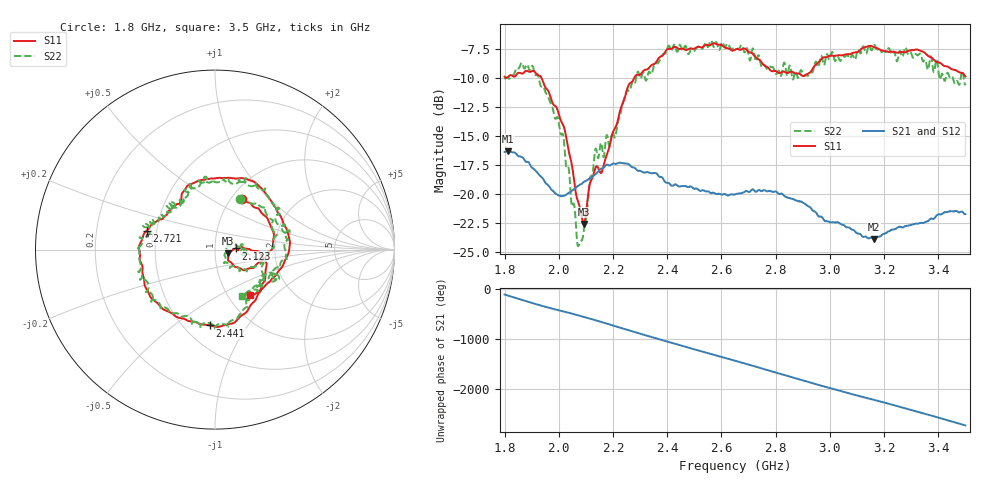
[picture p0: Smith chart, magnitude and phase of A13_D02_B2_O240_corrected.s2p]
! Created with skrf 1.9.0 (http://scikit-rf.org).
# Hz S RI R 50.0
!freq ReS11 ImS11 ReS21 ImS21 ReS12 ImS12 ReS22 ImS22
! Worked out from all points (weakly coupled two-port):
!   1601 points, 1.8 GHz to 3.5 GHz, reference 50 ohm
!   highest |S21| = -16.31 dB at 1.814 GHz (marker M1); lowest = -23.9 dB at 3.163 GHz (marker M2)
!   lowest |S11| = -22.6 dB at 2.092 GHz (marker M3), VSWR 1.16, Z = 57.7 - j2.28 ohm
!   |S11| at or under -10 dB: 1.936 GHz to 2.278 GHz (341.7 MHz wide, 16.2 % of centre)
!   |S22| runs from -24.5 to -6.8 dB; largest |S21 - S12| = 0.0026
!   S11 on the Smith chart (normalised r, x): 1.8 GHz: 1.12, +0.71; 2.123 GHz: 1.26, +0.02; 2.441 GHz: 0.67, -0.69; 2.721 GHz: 0.44, +0.11; 3.5 GHz: 1.26, -0.72
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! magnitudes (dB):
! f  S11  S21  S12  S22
! 1.8 GHz  -9.9  -16.4  -16.4  -10.1
! 1.814 GHz  -9.9  -16.3  -16.3  -10.0
! 1.902 GHz  -9.4  -17.7  -17.7  -8.9
! 1.965 GHz  -11.3  -19.3  -19.4  -11.9
! 2.021 GHz  -14.4  -20.1  -20.1  -16.0
! 2.07 GHz  -20.6  -19.3  -19.3  -24.5
! 2.084 GHz  -21.9  -19.1  -19.1  -24.0
! 2.092 GHz  -22.6  -19.0  -19.0  -23.2
! 2.123 GHz  -18.7  -18.5  -18.5  -18.4
! 2.161 GHz  -17.9  -17.8  -17.7  -16.3
! 2.209 GHz  -14.3  -17.4  -17.4  -15.0
! 2.259 GHz  -10.5  -17.5  -17.5  -11.1
! 2.367 GHz  -8.3  -18.4  -18.4  -8.7
! 2.441 GHz  -7.5  -19.3  -19.3  -7.5
! 2.65 GHz  -7.6  -20.0  -20.0  -7.4
! 2.721 GHz  -8.1  -19.7  -19.6  -7.9
! 2.803 GHz  -9.4  -19.8  -19.8  -9.6
! 2.934 GHz  -9.3  -21.3  -21.3  -9.5
! 3.163 GHz  -7.3  -23.9  -23.8  -7.1
! 3.217 GHz  -7.7  -23.2  -23.2  -7.4
! 3.328 GHz  -7.6  -22.5  -22.5  -8.0
! 3.5 GHz  -9.9  -21.7  -21.7  -10.5
